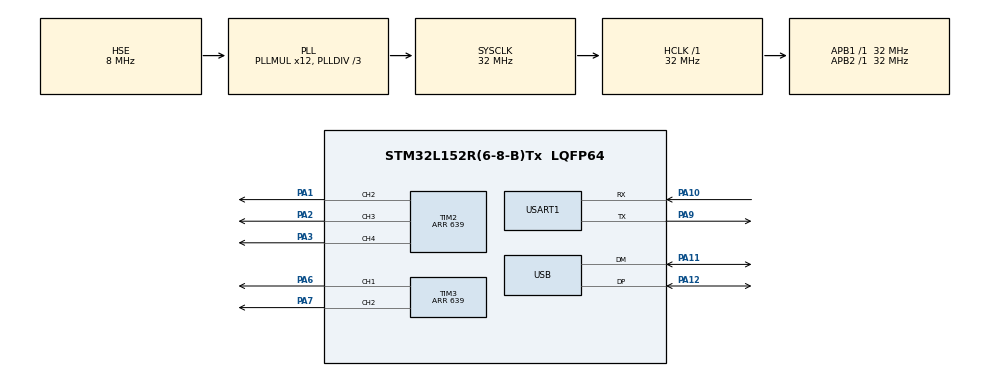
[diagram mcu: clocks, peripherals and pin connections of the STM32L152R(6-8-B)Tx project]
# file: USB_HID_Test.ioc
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Mcu.Family=STM32L1
Mcu.Name=STM32L152R(6-8-B)Tx
Mcu.Package=LQFP64
NVIC.PriorityGroup=NVIC_PRIORITYGROUP_4
NVIC.USART1_IRQn=true\:0\:0\:false\:false\:true\:true
NVIC.USB_LP_IRQn=true\:0\:0\:false\:false\:true\:false
PA1.Signal=S_TIM2_CH2
PA10.Mode=Asynchronous
PA10.Signal=USART1_RX
PA11.Mode=Device
PA11.Signal=USB_DM
PA12.Mode=Device
PA12.Signal=USB_DP
PA13.Mode=Serial_Wire
PA13.Signal=SYS_JTMS-SWDIO
PA14.Mode=Serial_Wire
PA14.Signal=SYS_JTCK-SWCLK
PA2.Signal=S_TIM2_CH3
PA3.Signal=S_TIM2_CH4
PA6.Signal=S_TIM3_CH1
PA7.Signal=S_TIM3_CH2
PA9.Mode=Asynchronous
PA9.Signal=USART1_TX
PH0-OSC_IN.Mode=HSE-External-Oscillator
PH0-OSC_IN.Signal=RCC_OSC_IN
PH1-OSC_OUT.Mode=HSE-External-Oscillator
PH1-OSC_OUT.Signal=RCC_OSC_OUT
ProjectManager.HeapSize=0x200
ProjectManager.StackSize=0x400
ProjectManager.TargetToolchain=TrueSTUDIO
RCC.48MHZClocksFreq_Value=48000000
RCC.AHBFreq_Value=32000000
RCC.APB1Freq_Value=32000000
RCC.APB1TimFreq_Value=32000000
RCC.APB2Freq_Value=32000000
RCC.APB2TimFreq_Value=32000000
RCC.HCLKFreq_Value=32000000
RCC.HSE_VALUE=8000000
RCC.HSI_VALUE=16000000
RCC.LSE_VALUE=32768
RCC.MSI_VALUE=2097000
RCC.PLLDIV=RCC_PLL_DIV3
RCC.PLLMUL=RCC_PLL_MUL12
RCC.SYSCLKFreq_VALUE=32000000
RCC.SYSCLKSource=RCC_SYSCLKSOURCE_PLLCLK
RCC.VCOOutputFreq_Value=96000000
SH.S_TIM2_CH2.0=TIM2_CH2,PWM Generation2 CH2
SH.S_TIM2_CH3.0=TIM2_CH3,PWM Generation3 CH3
SH.S_TIM2_CH4.0=TIM2_CH4,PWM Generation4 CH4
SH.S_TIM3_CH1.0=TIM3_CH1,PWM Generation1 CH1
SH.S_TIM3_CH2.0=TIM3_CH2,PWM Generation2 CH2
TIM2.Channel-PWM\ Generation2\ CH2=TIM_CHANNEL_2
TIM2.Channel-PWM\ Generation3\ CH3=TIM_CHANNEL_3
TIM2.Channel-PWM\ Generation4\ CH4=TIM_CHANNEL_4
TIM2.Period=639
TIM2.Pulse-PWM\ Generation2\ CH2=319
TIM2.Pulse-PWM\ Generation3\ CH3=319
TIM2.Pulse-PWM\ Generation4\ CH4=319
TIM3.Channel-PWM\ Generation1\ CH1=TIM_CHANNEL_1
TIM3.Channel-PWM\ Generation2\ CH2=TIM_CHANNEL_2
TIM3.Period=639
TIM3.Pulse-PWM\ Generation1\ CH1=319
TIM3.Pulse-PWM\ Generation2\ CH2=319
USART1.VirtualMode=VM_ASYNC
USB_DEVICE.CLASS_NAME_FS=CUSTOMHID
USB_DEVICE.USBD_CUSTOMHID_OUTREPORT_BUF_SIZE=8
USB_DEVICE.USBD_CUSTOM_HID_REPORT_DESC_SIZE=38
USB_DEVICE.VirtualMode=CustomHid
USB_DEVICE.VirtualModeFS=Custom_Hid_FS
VP_TIM2_VS_ClockSourceINT.Mode=Internal
VP_TIM3_VS_ClockSourceINT.Mode=Internal
VP_USB_DEVICE_VS_USB_DEVICE_CUSTOM_HID_FS.Mode=CUSTOM_HID_FS
board=USB_HID_Test

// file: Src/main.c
/**
  ******************************************************************************
  * File Name          : main.c
  * Description        : Main program body
  ******************************************************************************
  * This notice applies to any and all portions of this file
  * that are not between comment pairs USER CODE BEGIN and
  * USER CODE END. Other portions of this file, whether
  * inserted by the user or by software development tools
  * are owned by their respective copyright owners.
  *
  * Copyright (c) 2018 STMicroelectronics International N.V.
  * All rights reserved.
  *
  * Redistribution and use in source and binary forms, with or without
  * modification, are permitted, provided that the following conditions are met:
  *
  * 1. Redistribution of source code must retain the above copyright notice,
  *    this list of conditions and the following disclaimer.
  * 2. Redistributions in binary form must reproduce the above copyright notice,
  *    this list of conditions and the following disclaimer in the documentation
  *    and/or other materials provided with the distribution.
  * 3. Neither the name of STMicroelectronics nor the names of other
  *    contributors to this software may be used to endorse or promote products
  *    derived from this software without specific written permission.
  * 4. This software, including modifications and/or derivative works of this
  *    software, must execute solely and exclusively on microcontroller or
  *    microprocessor devices manufactured by or for STMicroelectronics.
  * 5. Redistribution and use of this software other than as permitted under
  *    this license is void and will automatically terminate your rights under
  *    this license.
  *
  * THIS SOFTWARE IS PROVIDED BY STMICROELECTRONICS AND CONTRIBUTORS "AS IS"
  * AND ANY EXPRESS, IMPLIED OR STATUTORY WARRANTIES, INCLUDING, BUT NOT
  * LIMITED TO, THE IMPLIED WARRANTIES OF MERCHANTABILITY, FITNESS FOR A
  * PARTICULAR PURPOSE AND NON-INFRINGEMENT OF THIRD PARTY INTELLECTUAL PROPERTY
  * RIGHTS ARE DISCLAIMED TO THE FULLEST EXTENT PERMITTED BY LAW. IN NO EVENT
  * SHALL STMICROELECTRONICS OR CONTRIBUTORS BE LIABLE FOR ANY DIRECT, INDIRECT,
  * INCIDENTAL, SPECIAL, EXEMPLARY, OR CONSEQUENTIAL DAMAGES (INCLUDING, BUT NOT
  * LIMITED TO, PROCUREMENT OF SUBSTITUTE GOODS OR SERVICES; LOSS OF USE, DATA,
  * OR PROFITS; OR BUSINESS INTERRUPTION) HOWEVER CAUSED AND ON ANY THEORY OF
  * LIABILITY, WHETHER IN CONTRACT, STRICT LIABILITY, OR TORT (INCLUDING
  * NEGLIGENCE OR OTHERWISE) ARISING IN ANY WAY OUT OF THE USE OF THIS SOFTWARE,
  * EVEN IF ADVISED OF THE POSSIBILITY OF SUCH DAMAGE.
  *
  ******************************************************************************
  */

#include "main.h"
#include "stm32l1xx_hal.h"
#include "tim.h"
#include "usart.h"
#include "usb_device.h"
#include "gpio.h"

/* USER CODE BEGIN Includes */
#include "usbd_customhid.h"
#include <string.h>
#include <stdlib.h>
/* USER CODE END Includes */

/* USER CODE BEGIN PV */
/* Private variables ---------------------------------------------------------*/
extern USBD_HandleTypeDef hUsbDeviceFS;
/* USER CODE END PV */

void SystemClock_Config(void);

/* USER CODE BEGIN PFP */
/* Private function prototypes -----------------------------------------------*/
extern USBD_DescriptorsTypeDef FS_Desc;
extern USBD_CUSTOM_HID_ItfTypeDef  USBD_CustomHID_fops_FS;
/* USER CODE END PFP */

/* USER CODE BEGIN 0 */
void HandleCommand(char * CMD_String, int String_Length)
{
	HAL_UART_Transmit(&huart1, (uint8_t *)CMD_String, String_Length, 100);
	//USBD_HID_SendReport(&hUsbDeviceFS, (uint8_t *)CMD_String, String_Length);
	char * single_cmd;
	single_cmd = strtok(CMD_String, ",");
	while (single_cmd!=NULL)
	{
		USBD_CUSTOM_HID_SendReport(&hUsbDeviceFS,(uint8_t *)single_cmd, strlen(single_cmd));

		if (strncmp(single_cmd,"PD",2)==0)
		{
			int PD_NUMBER = ((int)single_cmd[2] - (int)'1' + 1);
			int PWM = atoi(&single_cmd[4]);
			switch (PD_NUMBER)
			{
				case 1:
					__HAL_TIM_SET_COMPARE(&htim2, TIM_CHANNEL_2, PWM);
					break;
				case 2:
					__HAL_TIM_SET_COMPARE(&htim2, TIM_CHANNEL_3, PWM);
					break;
				case 3:
					__HAL_TIM_SET_COMPARE(&htim2, TIM_CHANNEL_4, PWM);
					break;
				case 4:
					__HAL_TIM_SET_COMPARE(&htim3, TIM_CHANNEL_1, PWM);
					break;
				case 5:
					__HAL_TIM_SET_COMPARE(&htim3, TIM_CHANNEL_2, PWM);
					break;
			}
		}
		single_cmd = strtok (NULL, ",");
	}
}

void HandleUSB(char* USB_String, int String_Length)
{
	HAL_UART_Transmit(&huart1, (uint8_t*)USB_String, String_Length, 1);

	if (strncmp(USB_String,"PD",2)==0)
	{
		USBD_CUSTOM_HID_SendReport(&hUsbDeviceFS,(uint8_t *)USB_String, String_Length);
		int PD_NUMBER = ((int)USB_String[2] - (int)'1' + 1);
		int PWM = atoi(&USB_String[4]);
		switch (PD_NUMBER)
		{
			case 1:
				__HAL_TIM_SET_COMPARE(&htim2, TIM_CHANNEL_2, PWM);
				break;
			case 2:
				__HAL_TIM_SET_COMPARE(&htim2, TIM_CHANNEL_3, PWM);
				break;
			case 3:
				__HAL_TIM_SET_COMPARE(&htim2, TIM_CHANNEL_4, PWM);
				break;
			case 4:
				__HAL_TIM_SET_COMPARE(&htim3, TIM_CHANNEL_1, PWM);
				break;
			case 5:
				__HAL_TIM_SET_COMPARE(&htim3, TIM_CHANNEL_2, PWM);
				break;
		}
	}
}
/* USER CODE END 0 */

int main(void)
{

  /* MCU Configuration----------------------------------------------------------*/

  /* Reset of all peripherals, Initializes the Flash interface and the Systick. */
  HAL_Init();

  /* Configure the system clock */
  SystemClock_Config();

  /* Initialize all configured peripherals */
  MX_GPIO_Init();
  MX_USART1_UART_Init();
  MX_TIM2_Init();
  MX_TIM3_Init();
  MX_USB_DEVICE_Init();

  /* USER CODE BEGIN 2 */
  __HAL_UART_ENABLE_IT(&huart1, UART_IT_RXNE);
  HAL_TIM_PWM_Start(&htim2, TIM_CHANNEL_2);
  HAL_TIM_PWM_Start(&htim2, TIM_CHANNEL_3);
  HAL_TIM_PWM_Start(&htim2, TIM_CHANNEL_4);
  HAL_TIM_PWM_Start(&htim3, TIM_CHANNEL_1);
  HAL_TIM_PWM_Start(&htim3, TIM_CHANNEL_2);

  USBD_Init(&hUsbDeviceFS, &FS_Desc, 0);
  USBD_RegisterClass(&hUsbDeviceFS, USBD_CUSTOM_HID_CLASS);
  USBD_CUSTOM_HID_RegisterInterface(&hUsbDeviceFS, &USBD_CustomHID_fops_FS);
  USBD_Start(&hUsbDeviceFS);
  /* USER CODE END 2 */

  /* Infinite loop */
  while (1)
  {

  }

}

/** System Clock Configuration
*/
void SystemClock_Config(void)
{

  RCC_OscInitTypeDef RCC_OscInitStruct;
  RCC_ClkInitTypeDef RCC_ClkInitStruct;

    /**Configure the main internal regulator output voltage
    */
  __HAL_PWR_VOLTAGESCALING_CONFIG(PWR_REGULATOR_VOLTAGE_SCALE1);

    /**Initializes the CPU, AHB and APB busses clocks
    */
  RCC_OscInitStruct.OscillatorType = RCC_OSCILLATORTYPE_HSE;
  RCC_OscInitStruct.HSEState = RCC_HSE_ON;
  RCC_OscInitStruct.PLL.PLLState = RCC_PLL_ON;
  RCC_OscInitStruct.PLL.PLLSource = RCC_PLLSOURCE_HSE;
  RCC_OscInitStruct.PLL.PLLMUL = RCC_PLL_MUL12;
  RCC_OscInitStruct.PLL.PLLDIV = RCC_PLL_DIV3;
  if (HAL_RCC_OscConfig(&RCC_OscInitStruct) != HAL_OK)
  {
    _Error_Handler(__FILE__, __LINE__);
  }

    /**Initializes the CPU, AHB and APB busses clocks
    */
  RCC_ClkInitStruct.ClockType = RCC_CLOCKTYPE_HCLK|RCC_CLOCKTYPE_SYSCLK
                              |RCC_CLOCKTYPE_PCLK1|RCC_CLOCKTYPE_PCLK2;
  RCC_ClkInitStruct.SYSCLKSource = RCC_SYSCLKSOURCE_PLLCLK;
  RCC_ClkInitStruct.AHBCLKDivider = RCC_SYSCLK_DIV1;
  RCC_ClkInitStruct.APB1CLKDivider = RCC_HCLK_DIV1;
  RCC_ClkInitStruct.APB2CLKDivider = RCC_HCLK_DIV1;

  if (HAL_RCC_ClockConfig(&RCC_ClkInitStruct, FLASH_LATENCY_1) != HAL_OK)
  {
    _Error_Handler(__FILE__, __LINE__);
  }

    /**Configure the Systick interrupt time
    */
  HAL_SYSTICK_Config(HAL_RCC_GetHCLKFreq()/1000);

    /**Configure the Systick
    */
  HAL_SYSTICK_CLKSourceConfig(SYSTICK_CLKSOURCE_HCLK);

  /* SysTick_IRQn interrupt configuration */
  HAL_NVIC_SetPriority(SysTick_IRQn, 0, 0);
}

void _Error_Handler(char * file, int line)
{
  while(1)
  {
  }
}

/************************ (C) COPYRIGHT STMicroelectronics *****END OF FILE****/
